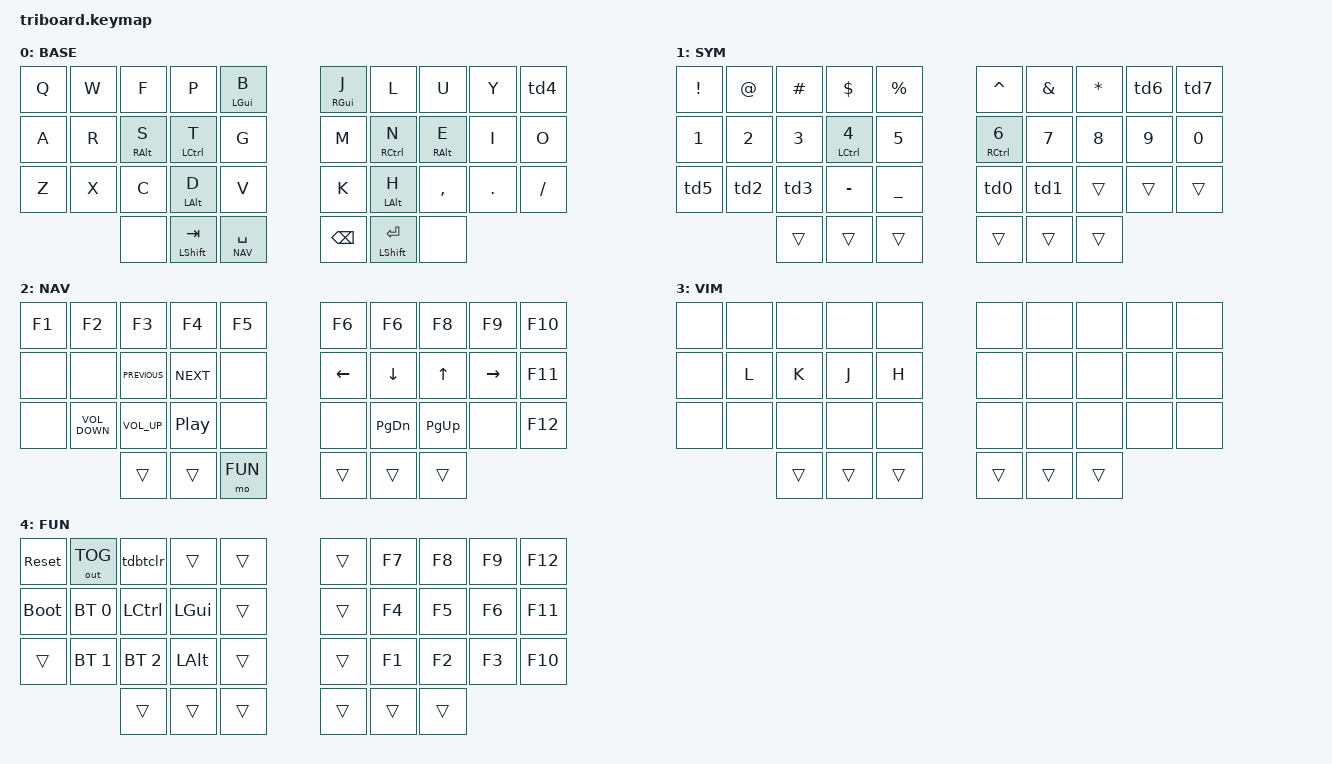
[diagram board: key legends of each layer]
// ⠀⠀⠀⠀⠀⠀⠀⠀⠀⣠⣷⡄⠀⠀⠀⠀⠀⠀⠀⠀
// ⠀⠀⠀⠀⠀⠀⠀⠀⣰⣿⣿⣿⡄⠀⠀⠀⠀⠀⠀⠀
// ⠀⠀⠀⠀⠀⠀⠀⣴⣿⣿⣿⣿⣿⣆⠀⠀⠀⠀⠀⠀
// ⠀⠀⠀⠀⠀⢀⣼⣿⣿⣿⣿⣿⣿⣿⣦⠀⠀⠀⠀⠀
// ⠀⠀⠀⠀⢀⣾⣿⣿⣿⣿⣿⣿⣿⣿⣿⣧⠀⠀⠀⠀
// ⠀⠀⠀⠀⠈⠉⠉⠉⠛⠻⢿⣿⣿⣿⣿⣿⣷⡀⠀⠀
// ⠀⠀⠀⠀⠀⠀⠀⠀⠀⠀⠀⠈⠛⢿⣿⣿⣿⣷⡄⠀
// ⠀⠀⠀⠀⢀⣀⠀⠀⠀⠀⠀⠀⠀⠀⠈⠻⢿⣿⣿⡄
// ⠀⢀⣴⣾⣿⣿⣿⣷⣦⣄⠀⠀⠀⠀⠀⠀⠀⠈⠉⠉
// ⣰⣿⣿⣿⣿⣿⣿⣿⣿⣿⣿⣦⣀⠀⠀⠀⠀⠀⠀⠀

#include <behaviors.dtsi>
#include <dt-bindings/zmk/keys.h>
#include <dt-bindings/zmk/bt.h>
#include <dt-bindings/zmk/outputs.h>
#include "helper.h"

#define BASE 0
#define SYM 1
#define NAV 2
#define VIM 3
#define FUN 4

&mt {
  quick-tap-ms = <100>;
  global-quick-tap;
  flavor = "hold-preferred";
  tapping-term-ms = <200>;
};

// Urob's timeless home row mods: see https://github.com/urob/zmk-config#timeless-homerow-mods
#define KEYS_L 0 1 2 3 4 10 11 12 13 14 20 21 22 23 24
#define KEYS_R 5 6 7 8 9 15 16 17 18 19 25 26 27 28 29
#define KEYS_THUMBS 32 33 34 35 36 37

/* left-hand HRMs */
ZMK_BEHAVIOR(hml, hold_tap,
    flavor = "balanced";
    tapping-term-ms = <280>;
    quick-tap-ms = <175>;                // repeat on tap-into-hold
    require-prior-idle-ms = <150>;
    bindings = <&kp>, <&kp>;
    hold-trigger-key-positions = <KEYS_R KEYS_THUMBS>;
    hold-trigger-on-release;             // delay positional check until key-release
)

/* right-hand HRMs */
ZMK_BEHAVIOR(hmr, hold_tap,
    flavor = "balanced";
    tapping-term-ms = <280>;
    quick-tap-ms = <175>;                // repeat on tap-into-hold
    require-prior-idle-ms = <150>;
    bindings = <&kp>, <&kp>;
    hold-trigger-key-positions = <KEYS_L KEYS_THUMBS>;
    hold-trigger-on-release;             // delay positional check until key-release
)

/* long press to prevent clearing bluetooth bond accidentally */
ZMK_BEHAVIOR(tdbtclr, tap_dance,
    tapping-term-ms = <300>;
    bindings = <&none>, <&none>, <&none>, <&none>, <&bt BT_CLR>;
)

&lt {
  quick-tap-ms = <100>;
  global-quick-tap;
  flavor = "hold-preferred";
  tapping-term-ms = <200>;
};

&sl {
    release-after-ms = <1500>;
};

&caps_word {
    continue-list = <BSPC MINUS UNDERSCORE>;
};

/ {
    behaviors {
        td0: tap_dance_dquote {
            compatible = "zmk,behavior-tap-dance";
            #binding-cells = <0>;
            tapping-term-ms = <300>;
            bindings = <&kp SQT>, <&kp DQT>;
        };
        td1: tap_dance_semi {
            compatible = "zmk,behavior-tap-dance";
            #binding-cells = <0>;
            tapping-term-ms = <300>;
            bindings = <&kp SEMI>, <&kp COLON>;
        };
        td2: tap_dance_backslash {
            compatible = "zmk,behavior-tap-dance";
            #binding-cells = <0>;
            tapping-term-ms = <300>;
            bindings = <&kp BSLH>, <&kp PIPE>;
        };
        td3: tap_dance_equal {
            compatible = "zmk,behavior-tap-dance";
            #binding-cells = <0>;
            tapping-term-ms = <300>;
            bindings = <&kp EQUAL>, <&kp PLUS>;
        };
        td4: tap_dance_minus {
            compatible = "zmk,behavior-tap-dance";
            #binding-cells = <0>;
            tapping-term-ms = <300>;
            bindings = <&kp MINUS>, <&kp UNDER>;
        };
        td5: tap_dance_grave {
            compatible = "zmk,behavior-tap-dance";
            #binding-cells = <0>;
            tapping-term-ms = <300>;
            bindings = <&kp TILDE>, <&kp GRAVE>;
        };
        td6: tap_dance_brace_left {
            compatible = "zmk,behavior-tap-dance";
            #binding-cells = <0>;
            tapping-term-ms = <300>;
            bindings = <&kp LPAR>, <&kp LBKT>, <&kp LBRC>;
        };
        td7: tap_dance_brace_right {
            compatible = "zmk,behavior-tap-dance";
            #binding-cells = <0>;
            tapping-term-ms = <300>;
            bindings = <&kp RPAR>, <&kp RBKT>, <&kp RBRC>;
        };
        tdb: tap_dance_bl_clear {
            compatible = "zmk,behavior-tap-dance";
            #binding-cells = <0>;
            tapping-term-ms = <300>;
            bindings = <&none>, <&none>, <&bt BT_CLR>;
        };
    };

    combos {
        compatible = "zmk,combos";
        combo_bl_clear {
            timeout-ms = <100>;
            key-positions = <0 1>;
            bindings = <&tdb>;
        };

        combo_osl_numbers {
            timeout-ms = <350>;
            key-positions = <17 18>; // E I
            bindings = <&sl SYM>;
        };
        combo_osl_fun {
            timeout-ms = <350>;
            key-positions = <26 27>; // H ,
            bindings = <&sl FUN>;
        };
        combo_osl_vim {
            timeout-ms = <350>;
            key-positions = <27 28>; // , .
            bindings = <&sl VIM>;
        };

        combo_dquote {
            timeout-ms = <50>;
            key-positions = <12 13>; // S T
            bindings = <&kp DQT>;
        };
        combo_quote {
            timeout-ms = <50>;
            key-positions = <16 17>; // N E
            bindings = <&kp SQT>;
        };
        combo_del {
            timeout-ms = <50>;
            key-positions = <12 14>; // S G
            bindings = <&kp DEL>;
        };
        combo_home {
            timeout-ms = <50>;
            key-positions = <14 15>; // G M
            bindings = <&kp HOME>;
        };
        combo_end {
            timeout-ms = <50>;
            key-positions = <24 25>; // V K
            bindings = <&kp END>;
        };
        combo_esc {
            timeout-ms = <50>;
            key-positions = <13 14>; // T G
            bindings = <&kp ESC>;
        };
        combo_capsword {
            timeout-ms = <50>;
            key-positions = <21 23>; // X D
            bindings = <&caps_word>;
        };
    };
        keymap {
                compatible = "zmk,keymap";
// ▄▄▄▄▄▄▄▄▄▄▄▄▄▄▄▄▄▄▄▄▄▄▄▄▄▄▄▄▄▄▄▄▄▄▄▄▄▄▄▄▄▄▄▄▄▄▄▄▄▄▄▄▄▄▄▄▄▄▄▄▄▄▄▄▄▄▄▄▄▄▄▄▄▄▄▄▄▄▄▄▄▄▄▄▄▄▄▄▄▄▄▄▄▄▄▄▄▄▄▄▄▄▄▄▄▄▄▄▄▄▄▄▄▄▄▄▄▄▄▄▄▄▄▄▄▄▄▄▄▄▄▄▄▄▄▄▄▄▄▄▄▄▄▄▄▄▄▄▄

                base_layer {
label= "BASE";
// ┏━━━━━━━━━━━┳━━━━━━━━━━━┳━━━━━━━━━━━┳━━━━━━━━━━━┳━━━━━━━━━━━┓   ┏━━━━━━━━━━━┳━━━━━━━━━━━┳━━━━━━━━━━━┳━━━━━━━━━━━┳━━━━━━━━━━━┓
// ┃     Q     ┃     W     ┃     F     ┃     P     ┃     B     ┃   ┃     J     ┃     L     ┃     U     ┃     Y     ┃     -     ┃
// ┣━━━━━━━━━━━╋━━━━━━━━━━━╋━━━━━━━━━━━╋━━━━━━━━━━━╋━━━━━━━━━━━┫   ┣━━━━━━━━━━━╋━━━━━━━━━━━╋━━━━━━━━━━━╋━━━━━━━━━━━╋━━━━━━━━━━━┫
// ┃     A     ┃     R     ┃     S     ┃     T     ┃     G     ┃   ┃     M     ┃     N     ┃     E     ┃     I     ┃     O     ┃
// ┣━━━━━━━━━━━╋━━━━━━━━━━━╋━━━━━━━━━━━╋━━━━━━━━━━━╋━━━━━━━━━━━┫   ┣━━━━━━━━━━━╋━━━━━━━━━━━╋━━━━━━━━━━━╋━━━━━━━━━━━╋━━━━━━━━━━━┫
// ┃     Z     ┃     X     ┃     C     ┃     D     ┃     V     ┃   ┃     K     ┃     H     ┃     ,     ┃     .     ┃     /     ┃
// ┗━━━━━━━━━━━┻━━━━━━━━━━━╋━━━━━━━━━━━╋━━━━━━━━━━━╋━━━━━━━━━━━┫   ┣━━━━━━━━━━━╋━━━━━━━━━━━╋━━━━━━━━━━━╋━━━━━━━━━━━┻━━━━━━━━━━━┛
//                         ┃           ┃    TAB    ┃    SPC    ┃   ┃   BSPC    ┃    ENT    ┃           ┃
//                         ┗━━━━━━━━━━━┻━━━━━━━━━━━┻━━━━━━━━━━━┛   ┗━━━━━━━━━━━┻━━━━━━━━━━━┻━━━━━━━━━━━┛
 bindings = <
     &kp Q        &kp W        &kp F       &kp P       &hml LGUI B           &hmr RGUI J       &kp L       &kp U       &kp Y        &td4
     &kp A &kp R  &hml RALT S        &hml LCTRL T       &kp G           &kp M       &hmr RCTRL N       &hmr RALT E       &kp I  &kp O
     &kp Z        &kp X        &kp C       &hml LALT D       &kp V           &kp K       &hmr LALT H       &kp COMMA   &kp DOT      &kp FSLH
                               &none   &mt LSHFT TAB   &lt NAV SPACE   &kp BSPC    &mt LSHFT RET &none
                        >;
                };

// ▄▄▄▄▄▄▄▄▄▄▄▄▄▄▄▄▄▄▄▄▄▄▄▄▄▄▄▄▄▄▄▄▄▄▄▄▄▄▄▄▄▄▄▄▄▄▄▄▄▄▄▄▄▄▄▄▄▄▄▄▄▄▄▄▄▄▄▄▄▄▄▄▄▄▄▄▄▄▄▄▄▄▄▄▄▄▄▄▄▄▄▄▄▄▄▄▄▄▄▄▄▄▄▄▄▄▄▄▄▄▄▄▄▄▄▄▄▄▄▄▄▄▄▄▄▄▄▄▄▄▄▄▄▄▄▄▄▄▄▄▄▄▄▄▄▄▄▄▄


                sim_layer {
// ┏━━━━━━━━━━━━━━━━━━━━━━━━━━━━━━━━━━━━━━━┓
label= "SYM";
// ┗━━━━━━━━━━━━━━━━━━━━━━━━━━━━━━━━━━━━━━━┛
//             ┏━━━━━━━━━━━┳━━━━━━━━━━━┳━━━━━━━━━━━┳━━━━━━━━━━━┳━━━━━━━━━━━┓   ┏━━━━━━━━━━━┳━━━━━━━━━━━┳━━━━━━━━━━━┳━━━━━━━━━━━┳━━━━━━━━━━━┓
//             ┃     !     ┃     @     ┃     #     ┃     $     ┃     %     ┃   ┃     ^     ┃     &     ┃     *     ┃  LBRACES  ┃  RBRACES  ┃
//             ┣━━━━━━━━━━━╋━━━━━━━━━━━╋━━━━━━━━━━━╋━━━━━━━━━━━╋━━━━━━━━━━━┫   ┣━━━━━━━━━━━╋━━━━━━━━━━━╋━━━━━━━━━━━╋━━━━━━━━━━━╋━━━━━━━━━━━┫
//             ┃     1     ┃     2     ┃     3     ┃     4     ┃     5     ┃   ┃     6     ┃     7     ┃     8     ┃     9     ┃     0     ┃
//             ┣━━━━━━━━━━━╋━━━━━━━━━━━╋━━━━━━━━━━━╋━━━━━━━━━━━╋━━━━━━━━━━━┫   ┣━━━━━━━━━━━╋━━━━━━━━━━━╋━━━━━━━━━━━╋━━━━━━━━━━━╋━━━━━━━━━━━┫
//             ┃   ~ `     ┃    \ |    ┃    = +    ┃     -     ┃     _     ┃   ┃    ' "    ┃    ; :    ┃    , <    ┃    . >    ┃    / ?    ┃
//             ┗━━━━━━━━━━━┻━━━━━━━━━━━╋━━━━━━━━━━━╋━━━━━━━━━━━╋━━━━━━━━━━━┫   ┣━━━━━━━━━━━╋━━━━━━━━━━━╋━━━━━━━━━━━╋━━━━━━━━━━━┻━━━━━━━━━━━┛
//                                     ┃           ┃           ┃           ┃   ┃           ┃           ┃           ┃
//                                     ┗━━━━━━━━━━━┻━━━━━━━━━━━┻━━━━━━━━━━━┛   ┗━━━━━━━━━━━┻━━━━━━━━━━━┻━━━━━━━━━━━┛
 bindings = <
    &kp EXCL        &kp AT_SIGN      &kp HASH         &kp DOLLAR     &kp PERCENT           &kp CARET  &kp AMPERSAND &kp ASTRK &td6             &td7
    &kp N1          &kp N2           &kp N3           &hml LCTRL N4  &kp N5                &hmr RCTRL N6 &kp N7  &kp N8    &kp N9           &kp N0
    &td5            &td2     &td3             &kp MINUS           &kp UNDERSCORE        &td0       &td1       &trans  &trans          &trans
                                     &trans           &trans         &trans                &trans     &trans     &trans
                        >;
                };

// ▄▄▄▄▄▄▄▄▄▄▄▄▄▄▄▄▄▄▄▄▄▄▄▄▄▄▄▄▄▄▄▄▄▄▄▄▄▄▄▄▄▄▄▄▄▄▄▄▄▄▄▄▄▄▄▄▄▄▄▄▄▄▄▄▄▄▄▄▄▄▄▄▄▄▄▄▄▄▄▄▄▄▄▄▄▄▄▄▄▄▄▄▄▄▄▄▄▄▄▄▄▄▄▄▄▄▄▄▄▄▄▄▄▄▄▄▄▄▄▄▄▄▄▄▄▄▄▄▄▄▄▄▄▄▄▄▄▄▄▄▄▄▄▄▄▄▄▄▄


                nav_layer {
// ┏━━━━━━━━━━━━━━━━━━━━━━━━━━━━━━━━━━━━━━━┓
label= "NAV";
// ┗━━━━━━━━━━━━━━━━━━━━━━━━━━━━━━━━━━━━━━━┛
//             ┏━━━━━━━━━━━┳━━━━━━━━━━━┳━━━━━━━━━━━┳━━━━━━━━━━━┳━━━━━━━━━━━┓                          ┏━━━━━━━━━━━┳━━━━━━━━━━━┳━━━━━━━━━━━┳━━━━━━━━━━━┳━━━━━━━━━━━┓
//             ┃    F1     ┃    F2     ┃   F3      ┃   F4      ┃    F5     ┃                          ┃    F6     ┃    F7     ┃    F8     ┃    F9     ┃    F10    ┃
//             ┣━━━━━━━━━━━╋━━━━━━━━━━━╋━━━━━━━━━━━╋━━━━━━━━━━━╋━━━━━━━━━━━┫                          ┣━━━━━━━━━━━╋━━━━━━━━━━━╋━━━━━━━━━━━╋━━━━━━━━━━━╋━━━━━━━━━━━┫
//             ┃           ┃           ┃    ◂◂     ┃     ▸▸    ┃           ┃                          ┃     ←     ┃     ↓     ┃     ↑     ┃     →     ┃    F11    ┃
//             ┣━━━━━━━━━━━╋━━━━━━━━━━━╋━━━━━━━━━━━╋━━━━━━━━━━━╋━━━━━━━━━━━┫                          ┣━━━━━━━━━━━╋━━━━━━━━━━━╋━━━━━━━━━━━╋━━━━━━━━━━━╋━━━━━━━━━━━┫
//             ┃           ┃          ┃          ┃    ▸▮▮    ┃           ┃                          ┃           ┃   PG_DN   ┃  PG_UP    ┃           ┃    F12    ┃
//             ┗━━━━━━━━━━━┻━━━━━━━━━━━╋━━━━━━━━━━━╋━━━━━━━━━━━╋━━━━━━━━━━━┫                          ┣━━━━━━━━━━━╋━━━━━━━━━━━╋━━━━━━━━━━━╋━━━━━━━━━━━┻━━━━━━━━━━━┛
//                                     ┃           ┃           ┃           ┃                          ┃           ┃           ┃           ┃
//                                     ┗━━━━━━━━━━━┻━━━━━━━━━━━┻━━━━━━━━━━━┛                          ┗━━━━━━━━━━━┻━━━━━━━━━━━┻━━━━━━━━━━━┛
 bindings = <
//             ╷           ╷           ╷           ╷           ╷           ╷   ╷           ╷           ╷           ╷           ╷           ╷           ╷
                &kp F1        &kp F2               &kp F3             &kp F4      &kp F5                &kp F6      &kp F6      &kp F8      &kp F9      &kp F10
                &none         &none                &kp C_PREVIOUS     &kp C_NEXT  &none                 &kp LEFT   &kp DOWN  &kp UP        &kp RIGHT   &kp F11
                &none         &kp C_VOLUME_DOWN    &kp C_VOLUME_UP    &kp C_PP    &none                 &none       &kp PG_DN   &kp PG_UP       &none       &kp F12
                                                   &trans             &trans      &mo FUN               &trans      &trans      &trans
                        >;
                };

// ▄▄▄▄▄▄▄▄▄▄▄▄▄▄▄▄▄▄▄▄▄▄▄▄▄▄▄▄▄▄▄▄▄▄▄▄▄▄▄▄▄▄▄▄▄▄▄▄▄▄▄▄▄▄▄▄▄▄▄▄▄▄▄▄▄▄▄▄▄▄▄▄▄▄▄▄▄▄▄▄▄▄▄▄▄▄▄▄▄▄▄▄▄▄▄▄▄▄▄▄▄▄▄▄▄▄▄▄▄▄▄▄▄▄▄▄▄▄▄▄▄▄▄▄▄▄▄▄▄▄▄▄▄▄▄▄▄▄▄▄▄▄▄▄▄▄▄▄▄


                vim_layer {
// ┏━━━━━━━━━━━━━━━━━━━━━━━━━━━━━━━━━━━━━━━┓
label= "VIM";
// ┗━━━━━━━━━━━━━━━━━━━━━━━━━━━━━━━━━━━━━━━┛
//             ┏━━━━━━━━━━━┳━━━━━━━━━━━┳━━━━━━━━━━━┳━━━━━━━━━━━┳━━━━━━━━━━━┓                          ┏━━━━━━━━━━━┳━━━━━━━━━━━┳━━━━━━━━━━━┳━━━━━━━━━━━┳━━━━━━━━━━━┓
//             ┃           ┃           ┃           ┃           ┃           ┃                          ┃           ┃           ┃           ┃           ┃           ┃
//             ┣━━━━━━━━━━━╋━━━━━━━━━━━╋━━━━━━━━━━━╋━━━━━━━━━━━╋━━━━━━━━━━━┫                          ┣━━━━━━━━━━━╋━━━━━━━━━━━╋━━━━━━━━━━━╋━━━━━━━━━━━╋━━━━━━━━━━━┫
//             ┃           ┃     L     ┃     K     ┃    J      ┃    H      ┃                          ┃           ┃           ┃           ┃           ┃           ┃
//             ┣━━━━━━━━━━━╋━━━━━━━━━━━╋━━━━━━━━━━━╋━━━━━━━━━━━╋━━━━━━━━━━━┫                          ┣━━━━━━━━━━━╋━━━━━━━━━━━╋━━━━━━━━━━━╋━━━━━━━━━━━╋━━━━━━━━━━━┫
//             ┃           ┃           ┃           ┃           ┃           ┃                          ┃           ┃           ┃           ┃           ┃           ┃
//             ┗━━━━━━━━━━━┻━━━━━━━━━━━╋━━━━━━━━━━━╋━━━━━━━━━━━╋━━━━━━━━━━━┫                          ┣━━━━━━━━━━━╋━━━━━━━━━━━╋━━━━━━━━━━━╋━━━━━━━━━━━┻━━━━━━━━━━━┛
//                                     ┃           ┃           ┃           ┃                          ┃           ┃           ┃           ┃
//                                     ┗━━━━━━━━━━━┻━━━━━━━━━━━┻━━━━━━━━━━━┛                          ┗━━━━━━━━━━━┻━━━━━━━━━━━┻━━━━━━━━━━━┛
 bindings = <
//             ╷           ╷           ╷           ╷           ╷           ╷   ╷           ╷           ╷           ╷           ╷           ╷           ╷
                &none         &none                &none              &none       &none                 &none       &none       &none       &none       &none
                &none         &kp L                &kp K              &kp J       &kp H                 &none       &none       &none       &none       &none
                &none         &none                &none              &none       &none                 &none       &none       &none       &none       &none
                                                   &trans             &trans      &trans                 &trans      &trans      &trans
                        >;
                };

// ▄▄▄▄▄▄▄▄▄▄▄▄▄▄▄▄▄▄▄▄▄▄▄▄▄▄▄▄▄▄▄▄▄▄▄▄▄▄▄▄▄▄▄▄▄▄▄▄▄▄▄▄▄▄▄▄▄▄▄▄▄▄▄▄▄▄▄▄▄▄▄▄▄▄▄▄▄▄▄▄▄▄▄▄▄▄▄▄▄▄▄▄▄▄▄▄▄▄▄▄▄▄▄▄▄▄▄▄▄▄▄▄▄▄▄▄▄▄▄▄▄▄▄▄▄▄▄▄▄▄▄▄▄▄▄▄▄▄▄▄▄▄▄▄▄▄▄▄▄


                fun_layer {
// ┏━━━━━━━━━━━━━━━━━━━━━━━━━━━━━━━━━━━━━━━┓
label= "FUN"                               ;
// ┗━━━━━━━━━━━━━━━━━━━━━━━━━━━━━━━━━━━━━━━┛
//             ┏━━━━━━━━━━━┳━━━━━━━━━━━┳━━━━━━━━━━━┳━━━━━━━━━━━┳━━━━━━━━━━━┓   ┏━━━━━━━━━━━┳━━━━━━━━━━━┳━━━━━━━━━━━┳━━━━━━━━━━━┳━━━━━━━━━━━┓
//             ┃   RESET   ┃ OUT TOG   ┃ BT CLEAR  ┃           ┃           ┃   ┃           ┃    F7     ┃    F8     ┃    F9     ┃    F12    ┃
//             ┣━━━━━━━━━━━╋━━━━━━━━━━━╋━━━━━━━━━━━╋━━━━━━━━━━━╋━━━━━━━━━━━┫   ┣━━━━━━━━━━━╋━━━━━━━━━━━╋━━━━━━━━━━━╋━━━━━━━━━━━╋━━━━━━━━━━━┫
//             ┃ BOOTLOAD  ┃ BT 0      ┃ CTRL      ┃ GUI       ┃           ┃   ┃           ┃    F4     ┃    F5     ┃    F6     ┃    F11    ┃
//             ┣━━━━━━━━━━━╋━━━━━━━━━━━╋━━━━━━━━━━━╋━━━━━━━━━━━╋━━━━━━━━━━━┫   ┣━━━━━━━━━━━╋━━━━━━━━━━━╋━━━━━━━━━━━╋━━━━━━━━━━━╋━━━━━━━━━━━┫
//             ┃           ┃ BT 1      ┃ BT 2      ┃ ALT       ┃           ┃   ┃           ┃    F1     ┃    F2     ┃    F3     ┃    F10    ┃
//             ┗━━━━━━━━━━━┻━━━━━━━━━━━╋━━━━━━━━━━━╋━━━━━━━━━━━╋━━━━━━━━━━━┫   ┣━━━━━━━━━━━╋━━━━━━━━━━━╋━━━━━━━━━━━╋━━━━━━━━━━━┻━━━━━━━━━━━┛
//                                     ┃           ┃           ┃           ┃   ┃           ┃           ┃           ┃
//                                     ┗━━━━━━━━━━━┻━━━━━━━━━━━┻━━━━━━━━━━━┛   ┗━━━━━━━━━━━┻━━━━━━━━━━━┻━━━━━━━━━━━┛
 bindings = <
//             ╷           ╷           ╷           ╷           ╷           ╷   ╷           ╷           ╷           ╷           ╷           ╷           ╷

                &sys_reset  &out OUT_TOG  &tdbtclr     &trans      &trans          &trans      &kp F7      &kp F8      &kp F9      &kp F12
                &bootloader &bt BT_SEL 0  &kp LCTRL    &kp LGUI    &trans          &trans      &kp F4      &kp F5      &kp F6      &kp F11
                &trans      &bt BT_SEL 1  &bt BT_SEL 2 &kp LALT    &trans          &trans      &kp F1      &kp F2      &kp F3      &kp F10
                                          &trans       &trans      &trans          &trans      &trans      &trans
                        >;
                };
        };
};
